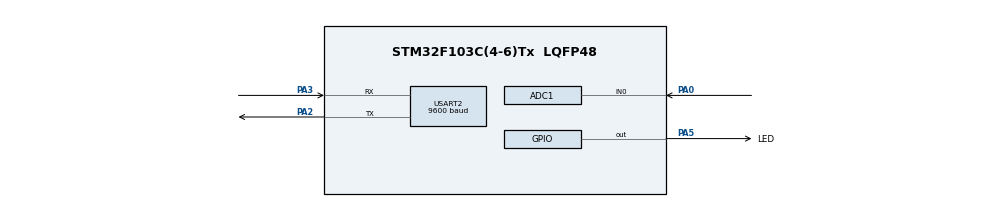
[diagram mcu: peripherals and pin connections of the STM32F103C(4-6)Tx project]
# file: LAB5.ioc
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ADC1.Channel-0\#ChannelRegularConversion=ADC_CHANNEL_0
ADC1.ContinuousConvMode=ENABLE
ADC1.NbrOfConversionFlag=1
ADC1.Rank-0\#ChannelRegularConversion=1
ADC1.SamplingTime-0\#ChannelRegularConversion=ADC_SAMPLETIME_1CYCLE_5
ADC1.master=1
Mcu.Family=STM32F1
Mcu.Name=STM32F103C(4-6)Tx
Mcu.Package=LQFP48
NVIC.PriorityGroup=NVIC_PRIORITYGROUP_4
NVIC.TIM2_IRQn=true\:0\:0\:false\:false\:true\:true\:true
NVIC.USART2_IRQn=true\:0\:0\:false\:false\:true\:true\:true
PA0-WKUP.Signal=ADCx_IN0
PA2.Mode=Asynchronous
PA2.Signal=USART2_TX
PA3.Mode=Asynchronous
PA3.Signal=USART2_RX
PA5.GPIO_Label=LED
PA5.Signal=GPIO_Output
ProjectManager.HeapSize=0x200
ProjectManager.StackSize=0x400
ProjectManager.TargetToolchain=STM32CubeIDE
RCC.APB1Freq_Value=8000000
RCC.APB2Freq_Value=8000000
SH.ADCx_IN0.0=ADC1_IN0,IN0
TIM2.Period=9
TIM2.Prescaler=7999
USART2.BaudRate=9600
USART2.VirtualMode=VM_ASYNC
VP_SYS_VS_ND.Mode=No_Debug
VP_TIM2_VS_ClockSourceINT.Mode=Internal
board=custom

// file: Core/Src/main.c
/* USER CODE BEGIN Header */
/**
  ******************************************************************************
  * @file           : main.c
  * @brief          : Main program body
  ******************************************************************************
  * @attention
  *
  * <h2><center>&copy; Copyright (c) 2023 STMicroelectronics.
  * All rights reserved.</center></h2>
  *
  * This software component is licensed by ST under BSD 3-Clause license,
  * the "License"; You may not use this file except in compliance with the
  * License. You may obtain a copy of the License at:
  *                        opensource.org/licenses/BSD-3-Clause
  *
  ******************************************************************************
  */
/* USER CODE END Header */
#include "main.h"

ADC_HandleTypeDef hadc1;

TIM_HandleTypeDef htim2;

UART_HandleTypeDef huart2;

void SystemClock_Config(void);
static void MX_GPIO_Init(void);
static void MX_ADC1_Init(void);
static void MX_USART2_UART_Init(void);
static void MX_TIM2_Init(void);

/* USER CODE BEGIN 0 */
uint8_t is_begin;//flag using indicate receive '!'
uint8_t temp = 0;//char receive from UART
uint8_t extern buffer[MAX_BUFFER_SIZE];//buffer for save chars which receive from UART
uint8_t extern index_buffer;//Initial 0 in main function
uint8_t buffer_flag = 0;//it will set when receive '#' after '!' and other bytes data

void HAL_UART_RxCpltCallback ( UART_HandleTypeDef * huart ){
	if(huart->Instance == USART2){
		buffer[index_buffer++] = temp;
		if(index_buffer == MAX_BUFFER_SIZE) index_buffer = 0;

		if(temp == '!')
			is_begin = 1;

		if(temp == '#' && is_begin){
			is_begin = 0;
			buffer_flag = 1;
		}

		HAL_UART_Receive_IT(&huart2 ,&temp, 1);

	}
}
/* USER CODE END 0 */

int main(void)
{

  /* MCU Configuration--------------------------------------------------------*/

  /* Reset of all peripherals, Initializes the Flash interface and the Systick. */
  HAL_Init();

  /* Configure the system clock */
  SystemClock_Config();

  /* Initialize all configured peripherals */
  MX_GPIO_Init();
  MX_ADC1_Init();
  MX_USART2_UART_Init();
  MX_TIM2_Init();
  /* USER CODE BEGIN 2 */

  HAL_UART_Receive_IT(&huart2, &temp, 1);
  HAL_ADC_Start(&hadc1);
  HAL_TIM_Base_Start_IT(&htim2);

  index_buffer = 0;
  /* USER CODE END 2 */

  /* Infinite loop */
  /* USER CODE BEGIN WHILE */
  set_timer_blink_led(13);
  while (1)
  {
    /* USER CODE END WHILE */

    /* USER CODE BEGIN 3 */

	  if(buffer_flag == 1) {//receive full command "!<data>#"
		  command_parser_fsm();//set flag if command is valid
		  buffer_flag = 0;
	  }

	  //read ADC if flag is set
	  uart_communiation_fsm();

	  //blink led every 1 second
	  if(get_timer_blink_led()){
		  set_timer_blink_led(100);
		  HAL_GPIO_TogglePin(LED_GPIO_Port, LED_Pin);
	  }
  }
  /* USER CODE END 3 */
}

void SystemClock_Config(void)
{
  RCC_OscInitTypeDef RCC_OscInitStruct = {0};
  RCC_ClkInitTypeDef RCC_ClkInitStruct = {0};
  RCC_PeriphCLKInitTypeDef PeriphClkInit = {0};

  /** Initializes the RCC Oscillators according to the specified parameters
  * in the RCC_OscInitTypeDef structure.
  */
  RCC_OscInitStruct.OscillatorType = RCC_OSCILLATORTYPE_HSI;
  RCC_OscInitStruct.HSIState = RCC_HSI_ON;
  RCC_OscInitStruct.HSICalibrationValue = RCC_HSICALIBRATION_DEFAULT;
  RCC_OscInitStruct.PLL.PLLState = RCC_PLL_NONE;
  if (HAL_RCC_OscConfig(&RCC_OscInitStruct) != HAL_OK)
  {
    Error_Handler();
  }
  /** Initializes the CPU, AHB and APB buses clocks
  */
  RCC_ClkInitStruct.ClockType = RCC_CLOCKTYPE_HCLK|RCC_CLOCKTYPE_SYSCLK
                              |RCC_CLOCKTYPE_PCLK1|RCC_CLOCKTYPE_PCLK2;
  RCC_ClkInitStruct.SYSCLKSource = RCC_SYSCLKSOURCE_HSI;
  RCC_ClkInitStruct.AHBCLKDivider = RCC_SYSCLK_DIV1;
  RCC_ClkInitStruct.APB1CLKDivider = RCC_HCLK_DIV1;
  RCC_ClkInitStruct.APB2CLKDivider = RCC_HCLK_DIV1;

  if (HAL_RCC_ClockConfig(&RCC_ClkInitStruct, FLASH_LATENCY_0) != HAL_OK)
  {
    Error_Handler();
  }
  PeriphClkInit.PeriphClockSelection = RCC_PERIPHCLK_ADC;
  PeriphClkInit.AdcClockSelection = RCC_ADCPCLK2_DIV2;
  if (HAL_RCCEx_PeriphCLKConfig(&PeriphClkInit) != HAL_OK)
  {
    Error_Handler();
  }
}

static void MX_ADC1_Init(void)
{

  ADC_ChannelConfTypeDef sConfig = {0};

  /** Common config
  */
  hadc1.Instance = ADC1;
  hadc1.Init.ScanConvMode = ADC_SCAN_DISABLE;
  hadc1.Init.ContinuousConvMode = ENABLE;
  hadc1.Init.DiscontinuousConvMode = DISABLE;
  hadc1.Init.ExternalTrigConv = ADC_SOFTWARE_START;
  hadc1.Init.DataAlign = ADC_DATAALIGN_RIGHT;
  hadc1.Init.NbrOfConversion = 1;
  if (HAL_ADC_Init(&hadc1) != HAL_OK)
  {
    Error_Handler();
  }
  /** Configure Regular Channel
  */
  sConfig.Channel = ADC_CHANNEL_0;
  sConfig.Rank = ADC_REGULAR_RANK_1;
  sConfig.SamplingTime = ADC_SAMPLETIME_1CYCLE_5;
  if (HAL_ADC_ConfigChannel(&hadc1, &sConfig) != HAL_OK)
  {
    Error_Handler();
  }

}

static void MX_TIM2_Init(void)
{

  TIM_ClockConfigTypeDef sClockSourceConfig = {0};
  TIM_MasterConfigTypeDef sMasterConfig = {0};

  htim2.Instance = TIM2;
  htim2.Init.Prescaler = 7999;
  htim2.Init.CounterMode = TIM_COUNTERMODE_UP;
  htim2.Init.Period = 9;
  htim2.Init.ClockDivision = TIM_CLOCKDIVISION_DIV1;
  htim2.Init.AutoReloadPreload = TIM_AUTORELOAD_PRELOAD_DISABLE;
  if (HAL_TIM_Base_Init(&htim2) != HAL_OK)
  {
    Error_Handler();
  }
  sClockSourceConfig.ClockSource = TIM_CLOCKSOURCE_INTERNAL;
  if (HAL_TIM_ConfigClockSource(&htim2, &sClockSourceConfig) != HAL_OK)
  {
    Error_Handler();
  }
  sMasterConfig.MasterOutputTrigger = TIM_TRGO_RESET;
  sMasterConfig.MasterSlaveMode = TIM_MASTERSLAVEMODE_DISABLE;
  if (HAL_TIMEx_MasterConfigSynchronization(&htim2, &sMasterConfig) != HAL_OK)
  {
    Error_Handler();
  }

}

static void MX_USART2_UART_Init(void)
{

  huart2.Instance = USART2;
  huart2.Init.BaudRate = 9600;
  huart2.Init.WordLength = UART_WORDLENGTH_8B;
  huart2.Init.StopBits = UART_STOPBITS_1;
  huart2.Init.Parity = UART_PARITY_NONE;
  huart2.Init.Mode = UART_MODE_TX_RX;
  huart2.Init.HwFlowCtl = UART_HWCONTROL_NONE;
  huart2.Init.OverSampling = UART_OVERSAMPLING_16;
  if (HAL_UART_Init(&huart2) != HAL_OK)
  {
    Error_Handler();
  }

}

static void MX_GPIO_Init(void)
{
  GPIO_InitTypeDef GPIO_InitStruct = {0};

  /* GPIO Ports Clock Enable */
  __HAL_RCC_GPIOA_CLK_ENABLE();

  /*Configure GPIO pin Output Level */
  HAL_GPIO_WritePin(LED_GPIO_Port, LED_Pin, GPIO_PIN_RESET);

  /*Configure GPIO pin : LED_Pin */
  GPIO_InitStruct.Pin = LED_Pin;
  GPIO_InitStruct.Mode = GPIO_MODE_OUTPUT_PP;
  GPIO_InitStruct.Pull = GPIO_NOPULL;
  GPIO_InitStruct.Speed = GPIO_SPEED_FREQ_LOW;
  HAL_GPIO_Init(LED_GPIO_Port, &GPIO_InitStruct);

}

/* USER CODE BEGIN 4 */

void HAL_TIM_PeriodElapsedCallback(TIM_HandleTypeDef *htim){
	timer_run();
}

/* USER CODE END 4 */

void Error_Handler(void)
{
  __disable_irq();
  while (1)
  {
  }
}

/************************ (C) COPYRIGHT STMicroelectronics *****END OF FILE****/
